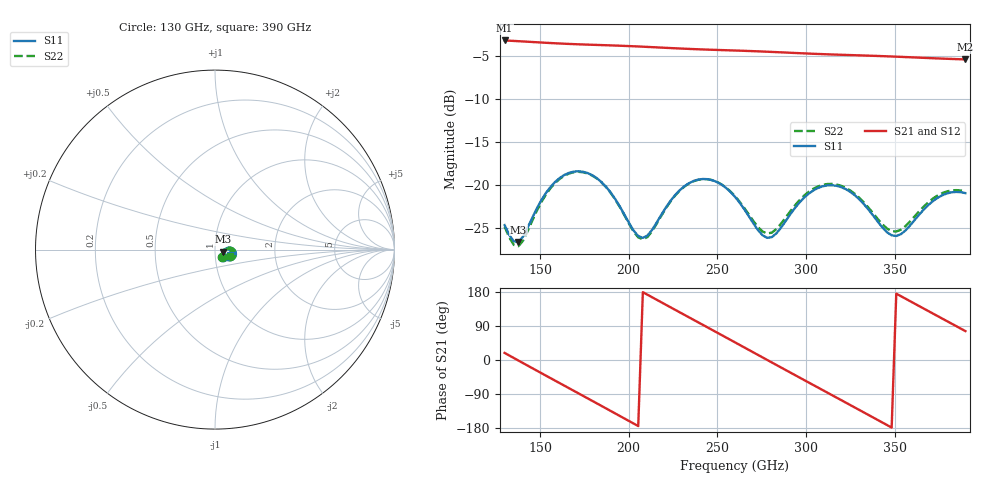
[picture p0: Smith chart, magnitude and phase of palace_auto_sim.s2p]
#  GHZ S DB R 50
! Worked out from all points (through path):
!   101 points, 130 GHz to 390 GHz, reference 50 ohm
!   highest |S21| = -3.23 dB at 130 GHz (marker M1); lowest = -5.4 dB at 390 GHz (marker M2)
!   group delay of S21, straight-line fit = 7.08 ps
!   lowest |S11| = -26.6 dB at 137.8 GHz (marker M3), VSWR 1.10, Z = 54.7 - j1.31 ohm
!   |S11| at or under -10 dB: start of sweep to end of sweep
!   |S22| runs from -27.1 to -18.5 dB; largest |S21 - S12| = 1e-14
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130  -24.64 -43.4  -3.23 18.7  -3.23 18.7  -24.82 -46.0
137.8  -26.60 -14.7  -3.32 -1.5  -3.32 -1.5  -27.09 -16.1
148.2  -22.71 8.1  -3.44 -28.2  -3.44 -28.2  -22.98 8.7
158.6  -19.62 1.3  -3.56 -54.7  -3.56 -54.7  -19.74 1.7
174.2  -18.46 -20.8  -3.70 -94.4  -3.70 -94.4  -18.52 -20.9
184.6  -19.64 -34.9  -3.77 -121.0  -3.77 -121.0  -19.69 -35.3
197.6  -23.43 -40.7  -3.86 -154.3  -3.86 -154.3  -23.51 -41.5
208  -26.13 -17.2  -3.96 179.0  -3.96 179.0  -26.30 -17.7
218.4  -23.46 4.4  -4.06 152.4  -4.06 152.4  -23.57 4.6
239.2  -19.37 -11.7  -4.26 99.5  -4.26 99.5  -19.39 -11.5
249.6  -19.63 -25.7  -4.33 73.1  -4.33 73.1  -19.62 -25.3
260  -21.37 -36.4  -4.40 46.6  -4.40 46.6  -21.29 -35.7
270.4  -24.46 -35.4  -4.47 20.0  -4.47 20.0  -24.19 -34.3
280.8  -26.04 -11.5  -4.56 -6.6  -4.56 -6.6  -25.51 -12.3
291.2  -23.39 3.7  -4.66 -33.1  -4.66 -33.1  -23.05 1.3
304.2  -20.62 -3.7  -4.78 -66.0  -4.78 -66.0  -20.43 -6.1
325  -20.78 -28.0  -4.93 -118.8  -4.93 -118.8  -20.63 -29.9
338  -23.55 -34.1  -5.01 -151.8  -5.01 -151.8  -23.29 -35.6
348.4  -25.83 -20.3  -5.09 -178.3  -5.09 -178.3  -25.35 -22.4
358.8  -24.69 -0.9  -5.18 155.2  -5.18 155.2  -24.22 -5.0
371.8  -21.84 -0.9  -5.30 122.3  -5.30 122.3  -21.55 -5.8
390  -20.94 -18.9  -5.43 76.3  -5.43 76.3  -20.76 -24.2
